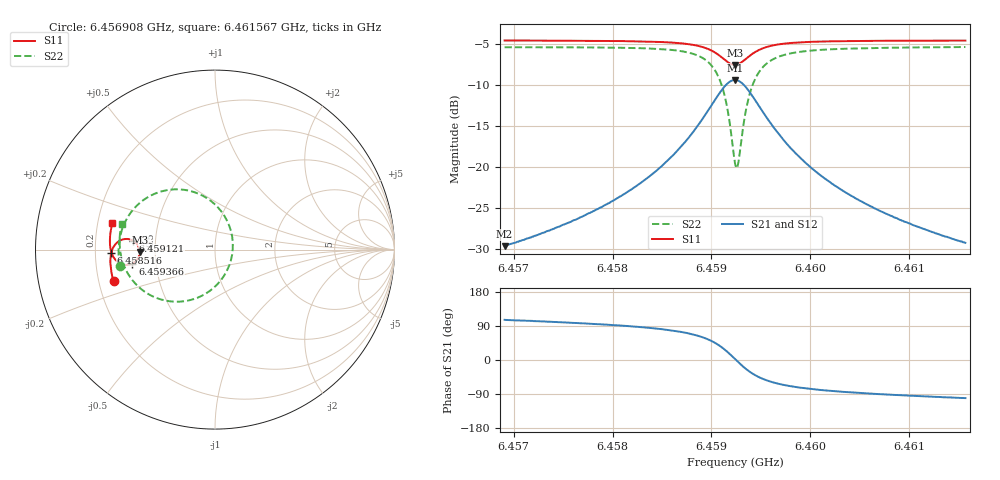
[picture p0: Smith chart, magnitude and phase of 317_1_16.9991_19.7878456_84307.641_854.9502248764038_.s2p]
#  HZ  S  RI  R  50.00
! Rohde & Schwarz Vector Network Analyzer
! Rohde-Schwarz,ZNB20-2Port,1311601062101988,3.16
! Created: UTC 3/20/2024, 11:06:15 PM
! freq[Hz]  re:S11  im:S11  re:S21  im:S21  re:S12  im:S12  re:S22  im:S22
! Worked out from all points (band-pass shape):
!   401 points, 6.456908 GHz to 6.461567 GHz, reference 50 ohm
!   highest |S21| = -9.37 dB at 6.459238 GHz (marker M1); lowest = -29.6 dB at 6.456908 GHz (marker M2)
!   |S21| within 3 dB of the highest: 6.459005 GHz to 6.459471 GHz (466.3 kHz wide, 0.00722 % of centre)
!   lowest |S11| = -7.5 dB at 6.459238 GHz (marker M3), VSWR 2.45, Z = 20.4 - j0.632 ohm
!   |S11| at or under -10 dB: nowhere
!   |S22| runs from -20.1 to -5.4 dB; largest |S21 - S12| = 0.013
!   S11 on the Smith chart (normalised r, x): 6.456908 GHz: 0.26, -0.14; 6.458516 GHz: 0.27, -0.02; 6.459121 GHz: 0.37, +0.05; 6.459366 GHz: 0.37, -0.07; 6.461567 GHz: 0.26, +0.12
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6.4569082e9  -0.5649 -0.1776  -0.00909 0.0318  -0.00743 0.0318  -0.5309 -0.0897
6.4576886e9  -0.5797 -0.1097  -0.00598 0.0495  -0.00347 0.049  -0.5373 0.000331
6.4581079e9  -0.583 -0.068  -0.000389 0.0682  0.00277 0.0669  -0.5302 0.0653
6.458469e9  -0.5797 -0.0254  0.0133 0.0975  0.0173 0.0947  -0.5052 0.1445
6.4585156e9  -0.5783 -0.019  0.0167 0.1027  0.0206 0.0998  -0.4991 0.1577
6.4587253e9  -0.5664 0.0129  0.0423 0.1341  0.0464 0.1295  -0.4512 0.2285
6.4588767e9  -0.5454 0.0392  0.0842 0.1642  0.0877 0.1578  -0.374 0.2921
6.4590281e9  -0.4997 0.0591  0.175 0.1833  0.176 0.1759  -0.2091 0.3358
6.4591213e9  -0.4556 0.0492  0.2636 0.1528  0.2641 0.1468  -0.0456 0.287
6.4591679e9  -0.4345 0.0309  0.3069 0.1107  0.3081 0.1054  0.0356 0.2121
6.4592378e9  -0.4196 -0.0127  0.3398 0.0154  0.3433 0.00838  0.0992 0.0363
6.4592494e9  -0.4201 -0.0207  0.3398 -0.00212  0.3433 -0.00977  0.0989 0.00335
6.4592727e9  -0.4235 -0.0362  0.3343 -0.0362  0.3379 -0.0452  0.0883 -0.0609
6.459331e9  -0.4439 -0.067  0.2969 -0.1073  0.2983 -0.1194  0.0128 -0.1937
6.4593659e9  -0.4605 -0.078  0.2653 -0.1357  0.2643 -0.1487  -0.0509 -0.2447
6.4594591e9  -0.5034 -0.0848  0.1819 -0.1669  0.1759 -0.1781  -0.2159 -0.2904
6.4596105e9  -0.5469 -0.0645  0.0956 -0.1537  0.0872 -0.1598  -0.38 -0.2424
6.4597736e9  -0.5684 -0.037  0.0511 -0.1264  0.0437 -0.1291  -0.4589 -0.1718
6.4600182e9  -0.5811 -0.00142  0.0223 -0.0955  0.0167 -0.0962  -0.5063 -0.0909
6.4603909e9  -0.5857 0.0422  0.00585 -0.068  0.00182 -0.0675  -0.5281 -0.00841
6.4607986e9  -0.5837 0.0829  -0.00133 -0.0511  -0.00402 -0.0503  -0.5317 0.0551
6.4615674e9  -0.5715 0.1508  -0.00632 -0.0341  -0.00805 -0.0331  -0.5202 0.1448
